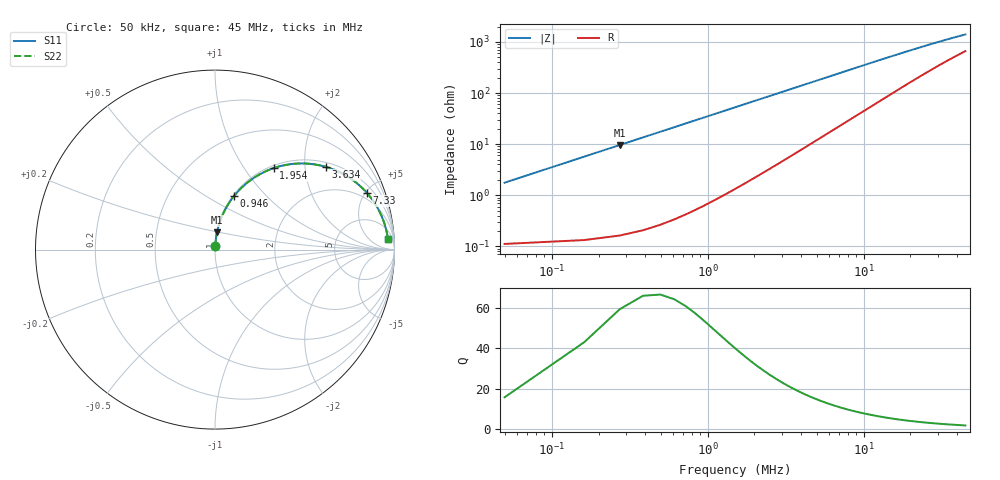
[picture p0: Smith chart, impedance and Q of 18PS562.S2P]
! Coilcraft 1812PS-562 Power Chip Inductor
! 1 October 2002
# MHZ S MA R 50
!Freq  MagS11  AngS11  MagS21  AngS21  MagS12  AngS12  MagS22  AngS22
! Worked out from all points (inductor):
!   403 points, 50 kHz to 45 MHz, reference 50 ohm
!   read as one part in series: L = 5.61 uH near 274 kHz
!   highest Q = 59.2 at 274 kHz (marker M1), where L = 5.61 uH
!   S11 on the Smith chart (normalised r, x): 50 kHz: 1.00, +0.04; 946 kHz: 1.01, +0.67; 1.954 MHz: 1.04, +1.38; 3.634 MHz: 1.13, +2.56; 7.33 MHz: 1.49, +5.13; 45 MHz: 14, +25
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0.05  0.01761 85.4  0.9987 -1.0  0.9987 -1.0  0.01761 85.4
0.162  0.05689 85.4  0.9971 -3.3  0.9971 -3.3  0.05689 85.4
0.274  0.09596 83.5  0.9938 -5.5  0.9938 -5.5  0.09596 83.5
0.386  0.1346 81.4  0.9889 -7.7  0.9889 -7.7  0.1346 81.4
0.498  0.1726 79.2  0.9824 -9.9  0.9824 -9.9  0.1726 79.2
0.61  0.2098 77.0  0.9745 -12.1  0.9745 -12.1  0.2098 77.0
0.722  0.246 74.8  0.9652 -14.2  0.9652 -14.2  0.246 74.8
0.946  0.315 70.6  0.9432 -18.4  0.9432 -18.4  0.315 70.6
1.394  0.4374 62.7  0.8889 -25.9  0.8889 -25.9  0.4374 62.7
1.954  0.5599 54.2  0.8117 -34.0  0.8117 -34.0  0.5599 54.2
2.626  0.667 46.0  0.7197 -41.8  0.7197 -41.8  0.667 46.0
3.634  0.7696 36.8  0.6004 -50.2  0.6004 -50.2  0.7696 36.8
4.418  0.8193 31.7  0.526 -54.9  0.526 -54.9  0.8193 31.7
5.202  0.8531 27.7  0.4655 -58.3  0.4655 -58.3  0.8531 27.7
7.33  0.9037 20.4  0.3507 -64.1  0.3507 -64.1  0.9037 20.4
7.554  0.907 19.9  0.3416 -64.5  0.3416 -64.5  0.907 19.9
10.914  0.9364 14.1  0.2452 -68.1  0.2452 -68.1  0.9364 14.1
15.058  0.9504 10.3  0.1818 -69.1  0.1818 -69.1  0.9504 10.3
22.562  0.9596 6.9  0.1249 -67.7  0.1249 -67.7  0.9596 6.9
30.066  0.963 5.2  0.09647 -64.9  0.09647 -64.9  0.963 5.2
37.57  0.9647 4.2  0.07971 -61.6  0.07971 -61.6  0.9647 4.2
45  0.9656 3.5  0.06892 -58.4  0.06892 -58.4  0.9656 3.5
